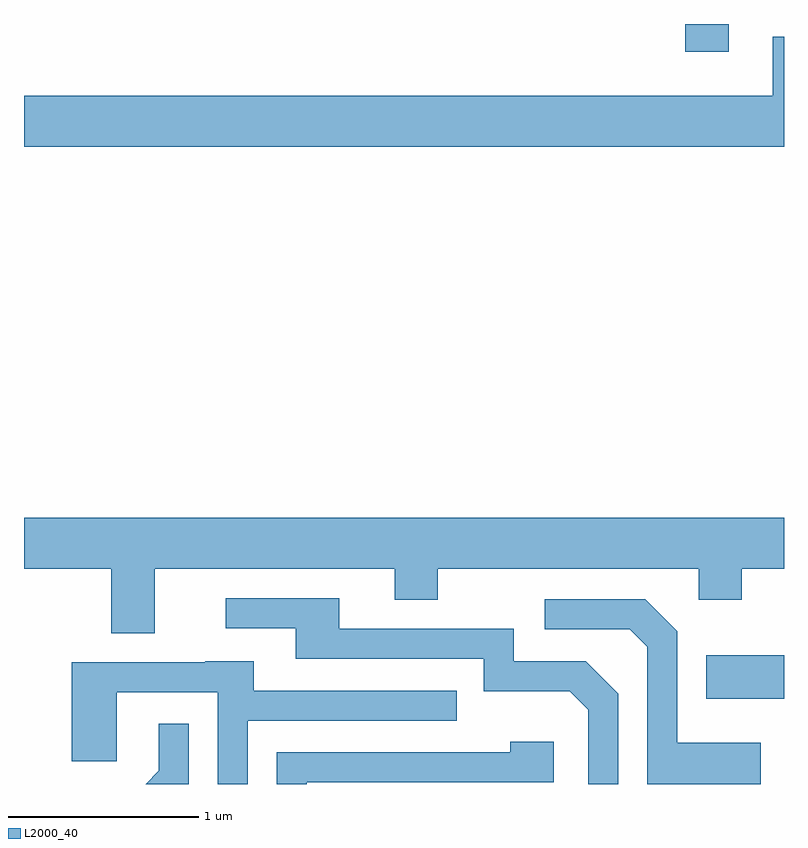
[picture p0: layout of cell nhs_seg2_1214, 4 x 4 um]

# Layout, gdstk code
import gdstk
lib = gdstk.Library(unit=1e-6, precision=1e-09)
def R(c, l, rs):  # rectangles x0, y0, x1, y1
    for r in rs: c.add(gdstk.rectangle(r[:2], r[2:], *l))
def P(c, l, *ps):  # polygons
    for p in ps: c.add(gdstk.Polygon(p, *l))
L2000_40 = (2000, 40)

nhs_seg2_1214 = lib.new_cell('nhs_seg2_1214')
R(nhs_seg2_1214, L2000_40, [(223.201,1094.251,223.611,1094.479), (223.091,1097.656,223.319,1097.802)])
P(nhs_seg2_1214, L2000_40, [(223.611,1097.734),(223.551,1097.734),(223.551,1097.424),(219.611,1097.424),(219.611,1097.156),(223.611,1097.156)],
  [(220.299,1094.936),(221.561,1094.936),(221.561,1094.771),(221.789,1094.771),(221.789,1094.936),(223.161,1094.936),(223.161,1094.771),(223.389,1094.771),(223.389,1094.936),(223.611,1094.936),(223.611,1095.204),(219.611,1095.204),(219.611,1094.936),(220.071,1094.936),(220.071,1094.596),(220.299,1094.596)],
  [(222.739,1094.277),(222.567,1094.449),(222.189,1094.449),(222.189,1094.619),(221.269,1094.619),(221.269,1094.779),(220.673,1094.779),(220.673,1094.621),(221.041,1094.621),(221.041,1094.461),(222.031,1094.461),(222.031,1094.291),(222.484,1094.291),(222.581,1094.194),(222.581,1093.802),(222.739,1093.802)],
  [(223.489,1094.019),(223.049,1094.019),(223.049,1094.607),(222.882,1094.774),(222.353,1094.774),(222.353,1094.616),(222.799,1094.616),(222.891,1094.524),(222.891,1093.802),(223.489,1093.802)],
  [(220.789,1094.136),(221.888,1094.136),(221.888,1094.294),(220.819,1094.294),(220.819,1094.449),(220.565,1094.449),(220.565,1094.444),(219.861,1094.444),(219.861,1093.921),(220.099,1093.921),(220.099,1094.286),(220.631,1094.286),(220.631,1093.802),(220.789,1093.802)],
  [(220.479,1093.804),(220.479,1094.118),(220.321,1094.118),(220.321,1093.872),(220.252,1093.802),(220.477,1093.802)],
  [(221.099,1093.811),(222.399,1093.811),(222.399,1094.024),(222.171,1094.024),(222.171,1093.969),(220.941,1093.969),(220.941,1093.802),(221.099,1093.802)])

lib.write_gds('nhs_seg2_1214.gds')
